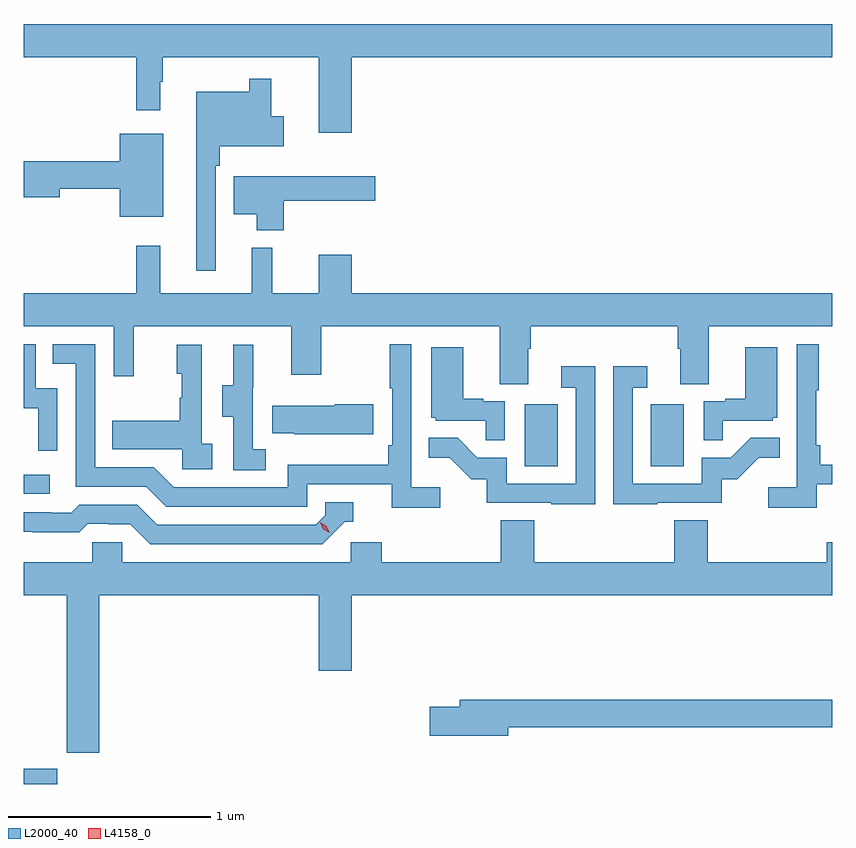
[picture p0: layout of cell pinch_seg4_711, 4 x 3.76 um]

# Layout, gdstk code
import gdstk
lib = gdstk.Library(unit=1e-6, precision=1e-09)
def R(c, l, rs):  # rectangles x0, y0, x1, y1
    for r in rs: c.add(gdstk.rectangle(r[:2], r[2:], *l))
def P(c, l, *ps):  # polygons
    for p in ps: c.add(gdstk.Polygon(p, *l))
L2000_40 = (2000, 40)
L4158_0 = (4158, 0)

pinch_seg4_711 = lib.new_cell('pinch_seg4_711')
R(pinch_seg4_711, L2000_40, [(846.866,825.19,847.03,825.265), (846.866,826.626,846.994,826.722), (849.344,826.764,849.508,827.071), (849.968,826.764,850.132,827.071)])
P(pinch_seg4_711, L2000_40, [(848.488,828.788),(850.866,828.788),(850.866,828.952),(846.866,828.952),(846.866,828.788),(847.423,828.788),(847.423,828.525),(847.54,828.525),(847.54,828.665),(847.552,828.665),(847.552,828.788),(848.324,828.788),(848.324,828.414),(848.488,828.414)],
  [(847.815,828.251),(847.835,828.251),(847.835,828.347),(848.152,828.347),(848.152,828.495),(848.091,828.495),(848.091,828.682),(847.98,828.682),(847.98,828.616),(847.718,828.616),(847.718,827.73),(847.815,827.73)],
  [(847.555,828.409),(847.34,828.409),(847.34,828.272),(846.866,828.272),(846.866,828.094),(847.042,828.094),(847.042,828.136),(847.34,828.136),(847.34,827.999),(847.555,827.999)],
  [(848.153,828.077),(848.605,828.077),(848.605,828.199),(847.904,828.199),(847.904,828.011),(848.018,828.011),(848.018,827.93),(848.153,827.93)],
  [(848.324,827.62),(848.094,827.62),(848.094,827.845),(847.994,827.845),(847.994,827.62),(847.541,827.62),(847.541,827.854),(847.423,827.854),(847.423,827.62),(846.866,827.62),(846.866,827.456),(847.311,827.456),(847.311,827.208),(847.409,827.208),(847.409,827.456),(848.189,827.456),(848.189,827.217),(848.337,827.217),(848.337,827.456),(849.221,827.456),(849.221,827.17),(849.361,827.17),(849.361,827.344),(849.374,827.344),(849.374,827.456),(850.103,827.456),(850.103,827.344),(850.115,827.344),(850.115,827.17),(850.255,827.17),(850.255,827.456),(850.866,827.456),(850.866,827.62),(848.488,827.62),(848.488,827.809),(848.324,827.809)],
  [(848.926,826.66),(848.784,826.66),(848.784,827.368),(848.676,827.368),(848.676,827.149),(848.688,827.149),(848.688,826.867),(848.668,826.867),(848.668,826.771),(848.172,826.771),(848.172,826.659),(847.608,826.659),(847.509,826.758),(847.218,826.758),(847.218,827.367),(847.009,827.367),(847.009,827.271),(847.122,827.271),(847.122,826.662),(847.472,826.662),(847.571,826.563),(848.268,826.563),(848.268,826.674),(848.687,826.674),(848.687,826.558),(848.926,826.558)],
  [(850.79,826.674),(850.866,826.674),(850.866,826.771),(850.808,826.771),(850.808,826.867),(850.788,826.867),(850.788,827.14),(850.801,827.14),(850.801,827.368),(850.692,827.368),(850.692,826.66),(850.551,826.66),(850.551,826.558),(850.79,826.558)],
  [(847.032,827.148),(846.924,827.148),(846.924,827.367),(846.866,827.367),(846.866,827.051),(846.936,827.051),(846.936,826.839),(847.032,826.839)],
  [(848.062,826.847),(847.998,826.847),(847.998,827.151),(848,827.151),(848,827.365),(847.901,827.365),(847.901,827.163),(847.847,827.163),(847.847,827.008),(847.902,827.008),(847.902,826.744),(848.062,826.744)],
  [(847.798,826.874),(847.746,826.874),(847.746,827.365),(847.622,827.365),(847.622,827.22),(847.648,827.22),(847.648,827.102),(847.638,827.102),(847.638,826.987),(847.303,826.987),(847.303,826.847),(847.65,826.847),(847.65,826.749),(847.798,826.749)],
  [(850.325,826.989),(850.572,826.989),(850.572,827.004),(850.594,827.004),(850.594,827.353),(850.436,827.353),(850.436,827.098),(850.337,827.098),(850.337,827.085),(850.23,827.085),(850.23,826.891),(850.325,826.891)],
  [(849.246,827.085),(849.14,827.085),(849.14,827.098),(849.04,827.098),(849.04,827.353),(848.882,827.353),(848.882,827.004),(848.904,827.004),(848.904,826.989),(849.151,826.989),(849.151,826.891),(849.246,826.891)],
  [(850.001,826.581),(850.32,826.581),(850.32,826.698),(850.396,826.698),(850.503,826.805),(850.607,826.805),(850.607,826.904),(850.463,826.904),(850.365,826.806),(850.221,826.806),(850.221,826.677),(849.879,826.677),(849.879,827.151),(849.952,827.151),(849.952,827.257),(849.783,827.257),(849.783,826.576),(850.001,826.576)],
  [(849.693,827.257),(849.525,827.257),(849.525,827.151),(849.597,827.151),(849.597,826.677),(849.255,826.677),(849.255,826.806),(849.111,826.806),(849.013,826.904),(848.869,826.904),(848.869,826.805),(848.973,826.805),(849.08,826.698),(849.157,826.698),(849.157,826.581),(849.475,826.581),(849.475,826.576),(849.693,826.576)],
  [(848.596,827.07),(848.405,827.07),(848.405,827.062),(848.095,827.062),(848.095,826.925),(848.203,826.925),(848.203,826.922),(848.596,826.922)],
  [(848.454,826.488),(848.497,826.488),(848.497,826.584),(848.358,826.584),(848.358,826.521),(848.31,826.473),(847.527,826.473),(847.428,826.572),(847.139,826.572),(847.1,826.533),(847.001,826.533),(847.001,826.536),(846.866,826.536),(846.866,826.439),(846.906,826.439),(846.906,826.437),(847.139,826.437),(847.181,826.479),(847.284,826.479),(847.284,826.476),(847.391,826.476),(847.49,826.377),(848.343,826.377)],
  [(847.238,826.124),(848.324,826.124),(848.324,825.75),(848.488,825.75),(848.488,826.124),(850.866,826.124),(850.866,826.386),(850.841,826.386),(850.841,826.288),(850.25,826.288),(850.25,826.496),(850.085,826.496),(850.085,826.288),(849.392,826.288),(849.392,826.496),(849.227,826.496),(849.227,826.288),(848.636,826.288),(848.636,826.386),(848.484,826.386),(848.484,826.288),(847.353,826.288),(847.353,826.386),(847.203,826.386),(847.203,826.288),(846.866,826.288),(846.866,826.124),(847.078,826.124),(847.078,825.345),(847.238,825.345)],
  [(849.262,825.472),(850.866,825.472),(850.866,825.608),(849.023,825.608),(849.023,825.572),(848.874,825.572),(848.874,825.43),(849.262,825.43)])
P(pinch_seg4_711, L4158_0, [(848.379,826.433),(848.348,826.452),(848.333,826.485),(848.333,826.485),(848.333,826.485),(848.363,826.466),(848.379,826.433),(848.379,826.433)])

lib.write_gds('pinch_seg4_711.gds')
